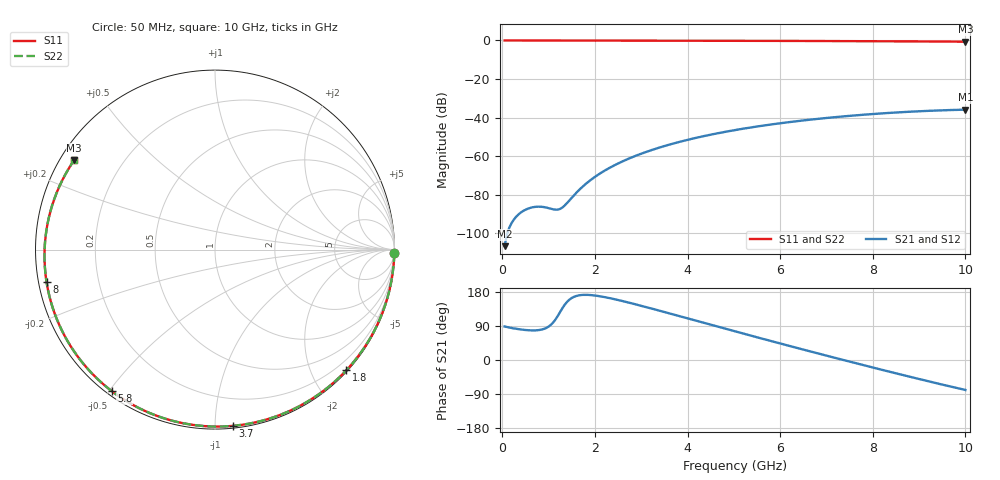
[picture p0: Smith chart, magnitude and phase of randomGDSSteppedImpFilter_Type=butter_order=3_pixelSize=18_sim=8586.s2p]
! freq	dB(S11)	phase(S11)	dB(S12)	phase(S12)
!  dB(S21)	phase(S21)	dB(S22)	phase(S22)
!S-par simulation data
#  GHz  S  DB  R 50
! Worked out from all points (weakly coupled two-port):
!   200 points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, 50 MHz to 10 GHz, reference 50 ohm
!   highest |S21| = -35.84 dB at 10 GHz (marker M1); lowest = -106.6 dB at 50 MHz (marker M2)
!   lowest |S11| = -0.6 dB at 10 GHz (marker M3), VSWR 27.39, Z = 1.98 + j14.6 ohm
!   |S11| at or under -10 dB: nowhere
!   |S22| runs from -0.6 to 0.0 dB; largest |S21 - S12| = 0
!   S11 on the Smith chart (normalised r, x): 50 MHz: 1, -98; 1.8 GHz: 0.02, -2.57; 3.7 GHz: 0.01, -1.11; 5.8 GHz: 0.02, -0.51; 8 GHz: 0.02, -0.10; 10 GHz: 0.04, +0.29
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0.05  -0.00 -1.2  -106.56 88.5  -106.56 88.5  -0.00 -1.2
0.45  -0.02 -10.8  -88.34 79.8  -88.34 79.8  -0.02 -10.8
0.8  -0.02 -19.2  -86.10 79.2  -86.10 79.2  -0.02 -19.2
1.55  -0.05 -36.8  -80.15 166.8  -80.15 166.8  -0.05 -36.8
1.75  -0.05 -41.4  -75.40 171.9  -75.40 171.9  -0.05 -41.4
1.8  -0.05 -42.6  -74.36 172.0  -74.36 172.0  -0.05 -42.6
2.1  -0.06 -49.4  -69.07 168.4  -69.07 168.4  -0.06 -49.4
2.45  -0.07 -57.3  -64.32 159.7  -64.32 159.7  -0.07 -57.3
2.9  -0.09 -67.2  -59.57 146.2  -59.57 146.2  -0.09 -67.2
3.4  -0.10 -77.9  -55.43 129.9  -55.43 129.9  -0.10 -77.9
3.7  -0.11 -84.2  -53.34 120.0  -53.34 120.0  -0.11 -84.2
4.35  -0.14 -97.6  -49.56 98.2  -49.56 98.2  -0.14 -97.6
5.05  -0.17 -111.6  -46.32 74.8  -46.32 74.8  -0.17 -111.6
5.8  -0.21 -126.2  -43.54 50.1  -43.54 50.1  -0.21 -126.2
6.7  -0.28 -143.5  -40.90 21.0  -40.90 21.0  -0.28 -143.5
7.35  -0.33 -156.1  -39.37 0.5  -39.37 0.5  -0.33 -156.1
8  -0.39 -169.0  -38.11 -19.8  -38.11 -19.8  -0.39 -169.0
8.35  -0.43 -176.1  -37.54 -30.5  -37.54 -30.5  -0.43 -176.1
8.8  -0.48 174.5  -36.92 -44.2  -36.92 -44.2  -0.48 174.5
9.2  -0.53 165.8  -36.46 -56.1  -36.46 -56.1  -0.53 165.8
9.6  -0.58 156.9  -36.11 -67.8  -36.11 -67.8  -0.58 156.9
10  -0.63 147.5  -35.84 -79.1  -35.84 -79.1  -0.63 147.5
